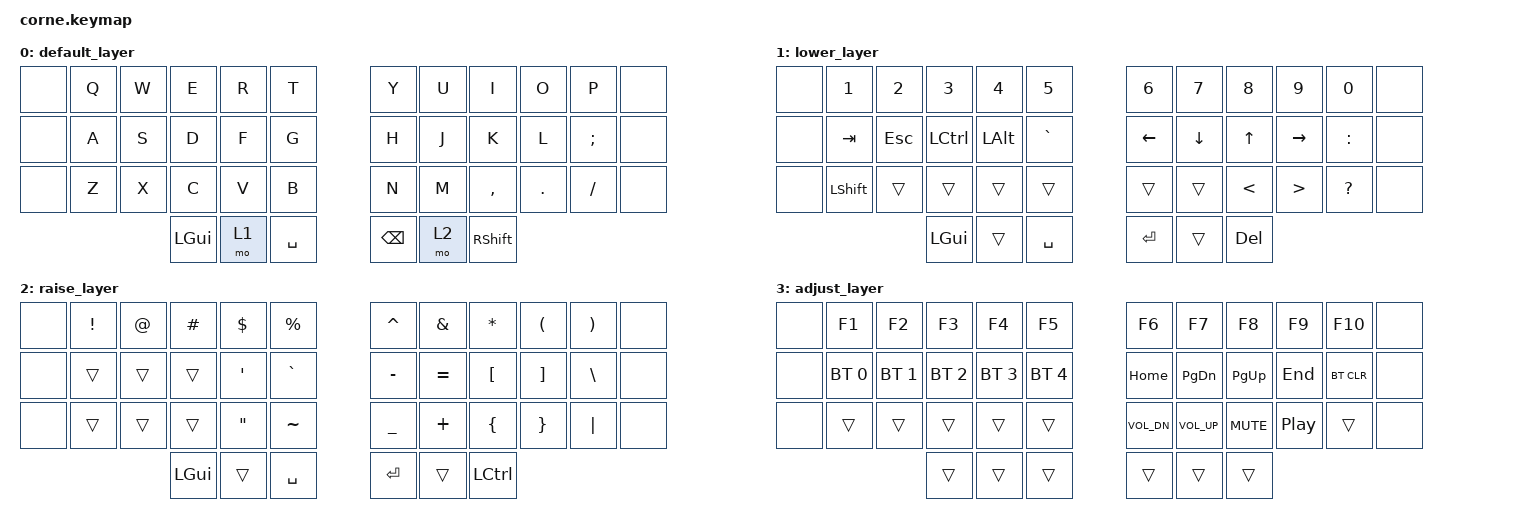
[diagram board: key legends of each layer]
/*
 * Copyright (c) 2020 The ZMK Contributors
 *
 * SPDX-License-Identifier: MIT
 */

#include <behaviors.dtsi>
#include <dt-bindings/zmk/keys.h>
#include <dt-bindings/zmk/bt.h>


/ {
        conditional_layers {
                compatible = "zmk,conditional-layers";
                tri_layer {
                        if-layers = <1 2>;
                        then-layer = <3>;
                };
        };

        keymap {
                compatible = "zmk,keymap";

                default_layer {
// -----------------------------------------------------------------------------------------
// | none |  Q  |  W  |  E  |  R  |  T  |   |  Y  |  U  |  I  |  O  |  P  | none |
// | none |  A  |  S  |  D  |  F  |  G  |   |  H  |  J  |  K  |  L  |  ;  | none |
// | none |  Z  |  X  |  C  |  V  |  B  |   |  N  |  M  |  ,  |  .  |  /  | none |
//                    | GUI | LWR | SPC |   | BKSP| RSE |RSHFT|
                        bindings = <
   &none &kp Q &kp W &kp E &kp R &kp T   &kp Y &kp U  &kp I     &kp O   &kp P    &none
   &none &kp A &kp S &kp D &kp F &kp G   &kp H &kp J  &kp K     &kp L   &kp SEMI &none
   &none &kp Z &kp X &kp C &kp V &kp B   &kp N &kp M  &kp COMMA &kp DOT &kp FSLH &none
                  &kp LGUI &mo 1 &kp SPACE   &kp BSPC &mo 2 &kp RSHFT
                        >;
                };

                lower_layer {
// -----------------------------------------------------------------------------------------
// | none |  1  |  2  |  3  |  4  |  5  |   |  6  |  7  |  8  |  9  |  0  | none |
// | none | TAB | ESC |CTRL | ALT |  `  |   | LFT | DWN |  UP | RGT |COLON| none |
// | none | SHFT|     |     |     |     |   |     |     |  <  |  >  |QMARK| none |
//                    | GUI |     | SPC |   | ENT |     | DEL |
                        bindings = <
   &none &kp N1      &kp N2   &kp N3     &kp N4    &kp N5       &kp N6   &kp N7   &kp N8           &kp N9              &kp N0        &none
   &none &kp TAB     &kp ESC  &kp LCTRL  &kp LALT  &kp GRAVE    &kp LEFT &kp DOWN &kp UP           &kp RIGHT           &kp COLON     &none
   &none &kp LSHIFT  &trans   &trans     &trans    &trans       &trans   &trans   &kp LESS_THAN    &kp GREATER_THAN    &kp QUESTION  &none
                              &kp LGUI   &trans    &kp SPACE    &kp RET  &trans   &kp DEL
                        >;
                };

                raise_layer {
// -----------------------------------------------------------------------------------------
// | none |  !  |  @  |  #  |  $  |  %  |   |  ^  |  &  |  *  |  (  |  )  | none |
// | none |     |     |     | SQT |  `  |   |  -  |  =  |  [  |  ]  |  \  | none |
// | none |     |     |     | DQT |  ~  |   |  _  |  +  |  {  |  }  | "|" | none |
//                    | GUI |     | SPC |   | ENT |     |LCTRL|
                        bindings = <
   &none &kp EXCL &kp AT &kp HASH &kp DLLR &kp PRCNT   &kp CARET &kp AMPS  &kp ASTRK &kp LPAR &kp RPAR &none
   &none &trans   &trans &trans   &kp SQT  &kp GRAVE   &kp MINUS &kp EQUAL &kp LBKT  &kp RBKT &kp BSLH &none
   &none &trans   &trans &trans   &kp DQT  &kp TILDE   &kp UNDER &kp PLUS  &kp LBRC  &kp RBRC &kp PIPE &none
                         &kp LGUI &trans   &kp SPACE   &kp RET   &trans    &kp LCTRL
                        >;
                };

                adjust_layer {
// -----------------------------------------------------------------------------------------
// | none | F1  | F2  | F3  | F4  | F5  |   | F6  | F7  | F8  | F9  | F10 | none |
// | none | BT0 | BT1 | BT2 | BT3 | BT4 |   |HOME |PGDN |PGUP | END |BTCLR| none |
// | none |     |     |     |     |     |   |VOL- |VOL+ |MUTE |PLAY |     | none |
//                    |     |     |     |   |     |     |     |
                        bindings = <
   &none &kp F1       &kp F2       &kp F3       &kp F4       &kp F5         &kp F6       &kp F7       &kp F8     &kp F9   &kp F10    &none
   &none &bt BT_SEL 0 &bt BT_SEL 1 &bt BT_SEL 2 &bt BT_SEL 3 &bt BT_SEL 4   &kp HOME     &kp PG_DN    &kp PG_UP  &kp END  &bt BT_CLR &none
   &none &trans       &trans       &trans       &trans       &trans         &kp C_VOL_DN &kp C_VOL_UP &kp C_MUTE &kp C_PP &trans     &none
                                   &trans       &trans       &trans         &trans       &trans       &trans
                        >;
                };
        };
};
